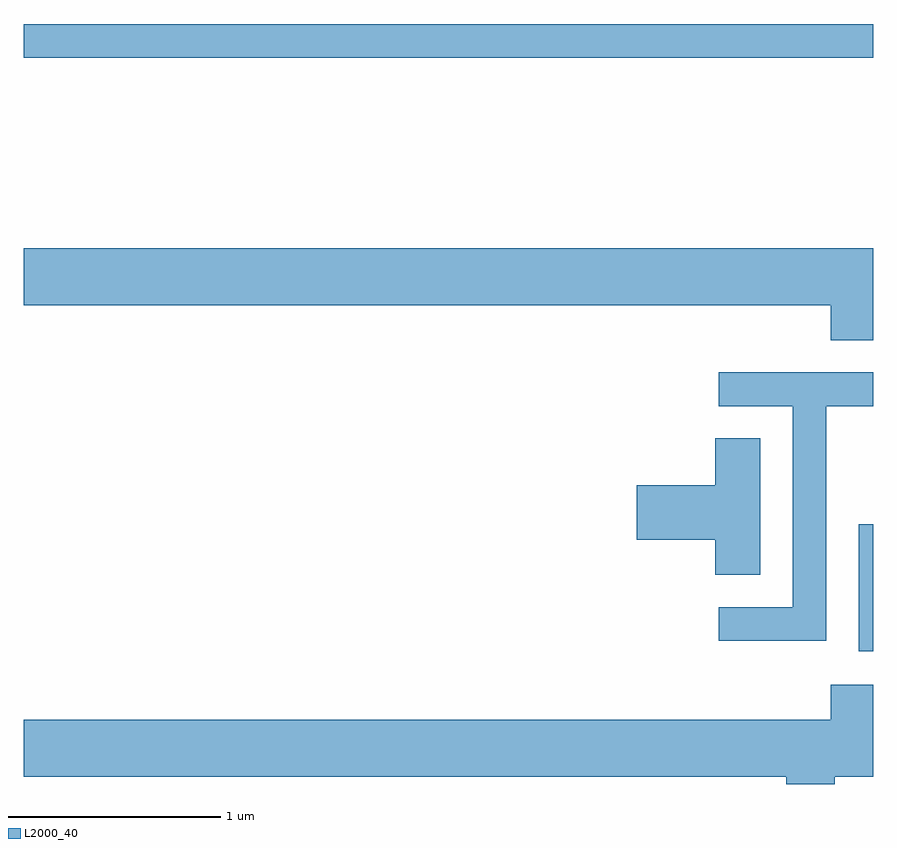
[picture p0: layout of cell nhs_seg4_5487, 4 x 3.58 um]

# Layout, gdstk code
import gdstk
lib = gdstk.Library(unit=1e-6, precision=1e-09)
def R(c, l, rs):  # rectangles x0, y0, x1, y1
    for r in rs: c.add(gdstk.rectangle(r[:2], r[2:], *l))
def P(c, l, *ps):  # polygons
    for p in ps: c.add(gdstk.Polygon(p, *l))
L2000_40 = (2000, 40)

nhs_seg4_5487 = lib.new_cell('nhs_seg4_5487')
R(nhs_seg4_5487, L2000_40, [(349.541,1348.606,349.611,1349.204), (345.611,1351.401,349.611,1351.559)])
P(nhs_seg4_5487, L2000_40, [(349.611,1350.504),(345.611,1350.504),(345.611,1350.236),(349.411,1350.236),(349.411,1350.071),(349.611,1350.071)],
  [(349.389,1349.761),(349.611,1349.761),(349.611,1349.919),(348.883,1349.919),(348.883,1349.761),(349.231,1349.761),(349.231,1348.814),(348.883,1348.814),(348.883,1348.656),(349.389,1348.656)],
  [(349.079,1349.609),(348.866,1349.609),(348.866,1349.389),(348.496,1349.389),(348.496,1349.131),(348.866,1349.131),(348.866,1348.966),(349.079,1348.966)],
  [(349.429,1348.016),(349.611,1348.016),(349.611,1348.449),(349.411,1348.449),(349.411,1348.284),(345.611,1348.284),(345.611,1348.016),(349.201,1348.016),(349.201,1347.982),(349.429,1347.982)])

lib.write_gds('nhs_seg4_5487.gds')
